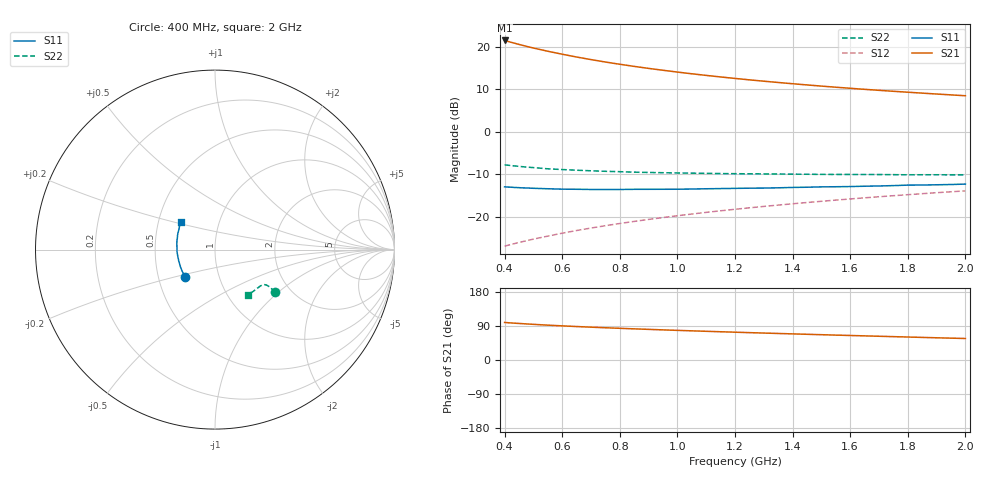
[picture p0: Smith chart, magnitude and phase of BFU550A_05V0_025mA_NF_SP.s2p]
! Filename:  P:\Prog\Test\Noise\ATS_data\Testdata_Net\06 Compressed Noise after Statistics\BFU550A_APG2013_35_C05_05p0V_025mA_NF_CM01_D.sf
! Date/Time: Tue 16/Apr/2013 15:11:30
! BFU550A_APG2013_35_C05_05p0V_1to35mA_NF_CM01_Bias7_R.sf
! Noise Parameter Data File
! BFU550A_APG2013_35_C05_05p0V_1to35mA_SP_CM01
! Date/time: Mon Apr 15 16:43:38 2013
! VAR V_out= 5.000000
! VAR I_out= 24.995000
! VAR V_in= 0.834000
! VAR I_in= 0.273200
! Device data file deembeded for feedlines and parallel
! Original file: \06 Compressed Noise after Statistics\BFU550A_APG2013_35_C05_05p0V_025mA_NF_CM01_R.sf
! Feed-files: PR017V01_150413_Feed1.s2p, PR017V01_150413_Feed2.s2p
! Parallel-file: PR017V01_150413_Par.s2p
# MHz S MA R 50
!  Freq-MHz  S11-mag  S11-arg  S21-mag  S21-arg  S12-mag  S12-arg  S22-mag  S22-arg
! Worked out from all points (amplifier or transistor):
!   37 points, 400 MHz to 2 GHz, reference 50 ohm
!   highest |S21| = 21.5 dB at 400 MHz (marker M1)
!   |S21| within 3 dB of that: start of sweep to 582.8 MHz
!   unconditionally stable (mu >= 1): 869.5 MHz to 1.743 GHz
!   at 500 MHz: K = 0.95, MSG = 22.5 dB, |S12| = -25.2 dB
!   at 1.1 GHz: K = 1.01, MAG = 15.6 dB, |S12| = -18.9 dB
!   at 2 GHz: K = 0.99, MSG = 11.2 dB, |S12| = -13.9 dB
!   lowest NFmin = 1.12 dB at 460 MHz
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400  0.2263 -136.9  11.93 99.1  0.04538 72.9  0.4109 -35.2
420  0.2243 -139.6  11.41 97.9  0.04731 73.1  0.4035 -35.1
440  0.2223 -142.1  10.94 96.9  0.04922 73.2  0.397 -34.9
480  0.2192 -146.5  10.09 95.0  0.053 73.6  0.3855 -34.8
500  0.2176 -148.6  9.718 94.1  0.05491 73.7  0.381 -34.6
550  0.2149 -153.8  8.908 91.9  0.05961 74.0  0.369 -34.4
600  0.2125 -157.9  8.213 90.1  0.06449 74.2  0.3615 -34.3
650  0.2119 -162.1  7.617 88.3  0.06933 74.3  0.355 -34.4
700  0.2108 -165.7  7.102 86.6  0.07415 74.4  0.3496 -34.5
750  0.2105 -169.0  6.651 85.1  0.07901 74.4  0.3448 -34.7
800  0.2107 -172.1  6.26 83.6  0.08388 74.4  0.3412 -35.1
850  0.2116 -175.3  5.91 82.2  0.08873 74.3  0.3368 -35.4
900  0.2118 -178.1  5.598 80.8  0.09365 74.2  0.334 -35.8
950  0.212 179.3  5.32 79.5  0.09853 74.1  0.3318 -36.4
1050  0.2133 174.4  4.837 77.0  0.1084 73.8  0.3279 -37.3
1150  0.2159 169.9  4.439 74.5  0.1183 73.3  0.3242 -38.5
1200  0.2171 167.7  4.266 73.4  0.1232 73.1  0.3232 -39.3
1350  0.2205 161.8  3.821 70.0  0.1381 72.2  0.3205 -41.6
1500  0.2261 156.2  3.465 66.8  0.153 71.3  0.3171 -44.0
1650  0.2301 151.3  3.175 63.7  0.1681 70.3  0.316 -46.6
1750  0.234 148.1  3.011 61.6  0.178 69.6  0.3147 -48.4
2000  0.2438 141.2  2.669 56.7  0.2029 67.6  0.3133 -53.5
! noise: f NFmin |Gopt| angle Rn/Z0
400  1.192  0.3039  -166.1  0.0826
460  1.121  0.3067  -166.2  0.0862
600  1.241  0.315  -159.5  0.0855
800  1.219  0.3395  -156.3  0.0805
1000  1.246  0.3597  -150.6  0.0821
1200  1.268  0.3564  -144  0.0976
1400  1.303  0.3675  -141.1  0.1038
1600  1.315  0.3907  -134  0.1129
1800  1.332  0.4048  -128.4  0.1242
2000  1.393  0.4087  -124.1  0.1329
